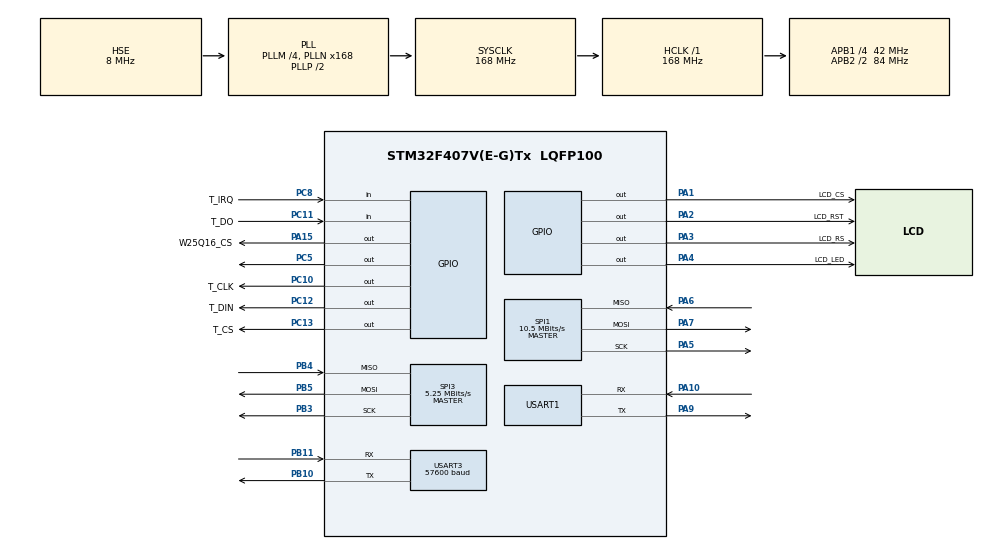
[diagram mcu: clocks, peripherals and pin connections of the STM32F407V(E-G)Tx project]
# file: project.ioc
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Dma.Request0=USART1_TX
Dma.Request1=SPI1_TX
Dma.Request2=SPI1_RX
Dma.Request3=USART3_RX
Dma.SPI1_RX.2.Direction=DMA_PERIPH_TO_MEMORY
Dma.SPI1_RX.2.FIFOMode=DMA_FIFOMODE_DISABLE
Dma.SPI1_RX.2.Instance=DMA2_Stream0
Dma.SPI1_RX.2.MemDataAlignment=DMA_MDATAALIGN_BYTE
Dma.SPI1_RX.2.MemInc=DMA_MINC_ENABLE
Dma.SPI1_RX.2.Mode=DMA_NORMAL
Dma.SPI1_RX.2.PeriphDataAlignment=DMA_PDATAALIGN_BYTE
Dma.SPI1_RX.2.PeriphInc=DMA_PINC_DISABLE
Dma.SPI1_RX.2.Priority=DMA_PRIORITY_MEDIUM
Dma.SPI1_TX.1.Direction=DMA_MEMORY_TO_PERIPH
Dma.SPI1_TX.1.FIFOMode=DMA_FIFOMODE_DISABLE
Dma.SPI1_TX.1.Instance=DMA2_Stream3
Dma.SPI1_TX.1.MemDataAlignment=DMA_MDATAALIGN_BYTE
Dma.SPI1_TX.1.MemInc=DMA_MINC_ENABLE
Dma.SPI1_TX.1.Mode=DMA_NORMAL
Dma.SPI1_TX.1.PeriphDataAlignment=DMA_PDATAALIGN_BYTE
Dma.SPI1_TX.1.PeriphInc=DMA_PINC_DISABLE
Dma.SPI1_TX.1.Priority=DMA_PRIORITY_MEDIUM
Dma.USART1_TX.0.Direction=DMA_MEMORY_TO_PERIPH
Dma.USART1_TX.0.FIFOMode=DMA_FIFOMODE_DISABLE
Dma.USART1_TX.0.Instance=DMA2_Stream7
Dma.USART1_TX.0.MemDataAlignment=DMA_MDATAALIGN_BYTE
Dma.USART1_TX.0.MemInc=DMA_MINC_ENABLE
Dma.USART1_TX.0.Mode=DMA_NORMAL
Dma.USART1_TX.0.PeriphDataAlignment=DMA_PDATAALIGN_BYTE
Dma.USART1_TX.0.PeriphInc=DMA_PINC_DISABLE
Dma.USART1_TX.0.Priority=DMA_PRIORITY_MEDIUM
Dma.USART3_RX.3.Direction=DMA_PERIPH_TO_MEMORY
Dma.USART3_RX.3.FIFOMode=DMA_FIFOMODE_DISABLE
Dma.USART3_RX.3.Instance=DMA1_Stream1
Dma.USART3_RX.3.MemDataAlignment=DMA_MDATAALIGN_BYTE
Dma.USART3_RX.3.MemInc=DMA_MINC_ENABLE
Dma.USART3_RX.3.Mode=DMA_CIRCULAR
Dma.USART3_RX.3.PeriphDataAlignment=DMA_PDATAALIGN_BYTE
Dma.USART3_RX.3.PeriphInc=DMA_PINC_DISABLE
Dma.USART3_RX.3.Priority=DMA_PRIORITY_VERY_HIGH
IWDG.Prescaler=IWDG_PRESCALER_64
Mcu.Family=STM32F4
Mcu.Name=STM32F407V(E-G)Tx
Mcu.Package=LQFP100
NVIC.DMA1_Stream1_IRQn=true\:0\:0\:false\:false\:true\:false\:true\:true
NVIC.DMA2_Stream0_IRQn=true\:5\:0\:true\:false\:true\:true\:false\:true
NVIC.DMA2_Stream3_IRQn=true\:5\:0\:true\:false\:true\:true\:false\:true
NVIC.DMA2_Stream7_IRQn=true\:5\:0\:true\:false\:true\:true\:false\:true
NVIC.PriorityGroup=NVIC_PRIORITYGROUP_4
NVIC.SPI1_IRQn=true\:3\:0\:true\:false\:true\:false\:true\:true
NVIC.TIM1_BRK_TIM9_IRQn=true\:1\:0\:true\:false\:true\:false\:true\:true
NVIC.TIM3_IRQn=true\:5\:0\:true\:false\:true\:true\:true\:true
NVIC.TimeBase=TIM1_BRK_TIM9_IRQn
NVIC.TimeBaseIP=TIM9
NVIC.USART1_IRQn=true\:6\:0\:true\:false\:true\:true\:false\:true
NVIC.USART3_IRQn=true\:5\:0\:true\:false\:true\:true\:true\:true
PA1.GPIO_Label=LCD_CS
PA1.GPIO_ModeDefaultOutputPP=GPIO_MODE_OUTPUT_PP
PA1.GPIO_PuPd=GPIO_NOPULL
PA1.GPIO_Speed=GPIO_SPEED_FREQ_VERY_HIGH
PA1.PinState=GPIO_PIN_SET
PA1.Signal=GPIO_Output
PA10.Mode=Asynchronous
PA10.Signal=USART1_RX
PA13.Mode=Serial_Wire
PA13.Signal=SYS_JTMS-SWDIO
PA14.Mode=Serial_Wire
PA14.Signal=SYS_JTCK-SWCLK
PA15.GPIO_Label=W25Q16_CS
PA15.GPIO_PuPd=GPIO_PULLUP
PA15.GPIO_Speed=GPIO_SPEED_FREQ_VERY_HIGH
PA15.PinState=GPIO_PIN_SET
PA15.Signal=GPIO_Output
PA2.GPIO_Label=LCD_RST
PA2.GPIO_ModeDefaultOutputPP=GPIO_MODE_OUTPUT_PP
PA2.GPIO_PuPd=GPIO_NOPULL
PA2.GPIO_Speed=GPIO_SPEED_FREQ_VERY_HIGH
PA2.PinState=GPIO_PIN_SET
PA2.Signal=GPIO_Output
PA3.GPIO_Label=LCD_RS
PA3.GPIO_ModeDefaultOutputPP=GPIO_MODE_OUTPUT_PP
PA3.GPIO_PuPd=GPIO_NOPULL
PA3.GPIO_Speed=GPIO_SPEED_FREQ_VERY_HIGH
PA3.PinState=GPIO_PIN_SET
PA3.Signal=GPIO_Output
PA4.GPIO_Label=LCD_LED
PA4.GPIO_ModeDefaultOutputPP=GPIO_MODE_OUTPUT_PP
PA4.GPIO_PuPd=GPIO_NOPULL
PA4.GPIO_Speed=GPIO_SPEED_FREQ_VERY_HIGH
PA4.PinState=GPIO_PIN_SET
PA4.Signal=GPIO_Output
PA5.GPIO_PuPd=GPIO_PULLUP
PA5.Mode=Full_Duplex_Master
PA5.Signal=SPI1_SCK
PA6.GPIO_PuPd=GPIO_PULLUP
PA6.Mode=Full_Duplex_Master
PA6.Signal=SPI1_MISO
PA7.GPIO_PuPd=GPIO_PULLUP
PA7.Mode=Full_Duplex_Master
PA7.Signal=SPI1_MOSI
PA9.Mode=Asynchronous
PA9.Signal=USART1_TX
PB10.Mode=Asynchronous
PB10.Signal=USART3_TX
PB11.Mode=Asynchronous
PB11.Signal=USART3_RX
PB3.Mode=Full_Duplex_Master
PB3.Signal=SPI3_SCK
PB4.Mode=Full_Duplex_Master
PB4.Signal=SPI3_MISO
PB5.Mode=Full_Duplex_Master
PB5.Signal=SPI3_MOSI
PC10.GPIO_Label=T_CLK
PC10.GPIO_ModeDefaultOutputPP=GPIO_MODE_OUTPUT_PP
PC10.GPIO_Speed=GPIO_SPEED_FREQ_HIGH
PC10.PinState=GPIO_PIN_SET
PC10.Signal=GPIO_Output
PC11.GPIO_Label=T_DO
PC11.GPIO_PuPd=GPIO_PULLUP
PC11.Signal=GPIO_Input
PC12.GPIO_Label=T_DIN
PC12.GPIO_ModeDefaultOutputPP=GPIO_MODE_OUTPUT_PP
PC12.GPIO_Speed=GPIO_SPEED_FREQ_HIGH
PC12.PinState=GPIO_PIN_SET
PC12.Signal=GPIO_Output
PC13-ANTI_TAMP.GPIO_Label=T_CS
PC13-ANTI_TAMP.GPIO_ModeDefaultOutputPP=GPIO_MODE_OUTPUT_PP
PC13-ANTI_TAMP.GPIO_Speed=GPIO_SPEED_FREQ_HIGH
PC13-ANTI_TAMP.PinState=GPIO_PIN_SET
PC13-ANTI_TAMP.Signal=GPIO_Output
PC5.Signal=GPIO_Output
PC8.GPIO_Label=T_IRQ
PC8.GPIO_PuPd=GPIO_PULLUP
PC8.Signal=GPIO_Input
PH0-OSC_IN.Mode=HSE-External-Oscillator
PH0-OSC_IN.Signal=RCC_OSC_IN
PH1-OSC_OUT.Mode=HSE-External-Oscillator
PH1-OSC_OUT.Signal=RCC_OSC_OUT
ProjectManager.HeapSize=0x400
ProjectManager.StackSize=0x1000
ProjectManager.TargetToolchain=MDK-ARM V5.32
RCC.48MHZClocksFreq_Value=84000000
RCC.AHBFreq_Value=168000000
RCC.APB1CLKDivider=RCC_HCLK_DIV4
RCC.APB1Freq_Value=42000000
RCC.APB1TimFreq_Value=84000000
RCC.APB2CLKDivider=RCC_HCLK_DIV2
RCC.APB2Freq_Value=84000000
RCC.APB2TimFreq_Value=168000000
RCC.CortexFreq_Value=168000000
RCC.HCLKFreq_Value=168000000
RCC.HSE_VALUE=8000000
RCC.HSI_VALUE=16000000
RCC.LSE_VALUE=32768
RCC.PLLM=4
RCC.PLLN=168
RCC.PLLSourceVirtual=RCC_PLLSOURCE_HSE
RCC.SYSCLKFreq_VALUE=168000000
RCC.SYSCLKSource=RCC_SYSCLKSOURCE_PLLCLK
RCC.VCOOutputFreq_Value=336000000
SPI1.BaudRatePrescaler=SPI_BAUDRATEPRESCALER_8
SPI1.CLKPhase=SPI_PHASE_1EDGE
SPI1.CLKPolarity=SPI_POLARITY_LOW
SPI1.CRCCalculation=SPI_CRCCALCULATION_DISABLE
SPI1.CalculateBaudRate=10.5 MBits/s
SPI1.Direction=SPI_DIRECTION_2LINES
SPI1.FirstBit=SPI_FIRSTBIT_MSB
SPI1.Mode=SPI_MODE_MASTER
SPI1.NSS=SPI_NSS_SOFT
SPI1.TIMode=SPI_TIMODE_DISABLE
SPI1.VirtualType=VM_MASTER
SPI3.BaudRatePrescaler=SPI_BAUDRATEPRESCALER_8
SPI3.CalculateBaudRate=5.25 MBits/s
SPI3.Direction=SPI_DIRECTION_2LINES
SPI3.Mode=SPI_MODE_MASTER
SPI3.VirtualType=VM_MASTER
TIM3.AutoReloadPreload=TIM_AUTORELOAD_PRELOAD_ENABLE
TIM3.Period=1000-1
TIM3.Prescaler=84-1
USART1.VirtualMode=VM_ASYNC
USART3.BaudRate=57600
USART3.VirtualMode=VM_ASYNC
VP_IWDG_VS_IWDG.Mode=IWDG_Activate
VP_SYS_VS_tim9.Mode=TIM9
VP_TIM3_VS_ClockSourceINT.Mode=Internal
board=custom

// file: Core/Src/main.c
/* USER CODE BEGIN Header */
/**
 ******************************************************************************

 ******************************************************************************
 */
/* USER CODE END Header */
#include "main.h"
#include "dma.h"
#include "iwdg.h"
#include "spi.h"
#include "tim.h"
#include "usart.h"
#include "gpio.h"

/* USER CODE BEGIN Includes */
#include "LCD.h"
#include "lvgl.h"
#include "lv_port_disp.h"
#include "lv_port_indev.h"
#include "lv_demos.h"
#include "touch.h"
#include "XPT2046.h"
#include "user_task.h"
#include "ota.h"
#include "partition.h"
/* USER CODE END Includes */

void SystemClock_Config(void);

int main(void)
{

  /* USER CODE BEGIN 1 */

  /* App 向量表重定位到本构建的槽位（与链接基址一致） */
  SCB->VTOR = OTA_APP_A_ADDR;

  /* USER CODE END 1 */

  /* MCU Configuration--------------------------------------------------------*/

  /* Reset of all peripherals, Initializes the Flash interface and the Systick. */
  HAL_Init();

  /* Configure the system clock */
  SystemClock_Config();

  /* Initialize all configured peripherals */
  MX_GPIO_Init();
  MX_DMA_Init();
  MX_USART1_UART_Init();
  MX_TIM3_Init();
  MX_SPI1_Init();
  MX_IWDG_Init();
  MX_USART3_UART_Init();
  MX_SPI3_Init();
  /* USER CODE BEGIN 2 */
  HAL_TIM_Base_Start_IT(&htim3); // 启动定时器3，1ms中断，作为LVGL时基

  /* Bootloader 已启动独立看门狗（约8s），App 启动后立即开始喂狗 */
  ota_feed_watchdog();

  freertos_start(); // 启动FreeRTOS，创建任务并启动调度器
  /* USER CODE END 2 */

  /* Infinite loop */
  while (1)
  {

  }
}

void SystemClock_Config(void)
{
  RCC_OscInitTypeDef RCC_OscInitStruct = {0};
  RCC_ClkInitTypeDef RCC_ClkInitStruct = {0};

  /** Configure the main internal regulator output voltage
  */
  __HAL_RCC_PWR_CLK_ENABLE();
  __HAL_PWR_VOLTAGESCALING_CONFIG(PWR_REGULATOR_VOLTAGE_SCALE1);

  /** Initializes the RCC Oscillators according to the specified parameters
  * in the RCC_OscInitTypeDef structure.
  */
  RCC_OscInitStruct.OscillatorType = RCC_OSCILLATORTYPE_LSI|RCC_OSCILLATORTYPE_HSE;
  RCC_OscInitStruct.HSEState = RCC_HSE_ON;
  RCC_OscInitStruct.LSIState = RCC_LSI_ON;
  RCC_OscInitStruct.PLL.PLLState = RCC_PLL_ON;
  RCC_OscInitStruct.PLL.PLLSource = RCC_PLLSOURCE_HSE;
  RCC_OscInitStruct.PLL.PLLM = 4;
  RCC_OscInitStruct.PLL.PLLN = 168;
  RCC_OscInitStruct.PLL.PLLP = RCC_PLLP_DIV2;
  RCC_OscInitStruct.PLL.PLLQ = 4;
  if (HAL_RCC_OscConfig(&RCC_OscInitStruct) != HAL_OK)
  {
    Error_Handler();
  }

  /** Initializes the CPU, AHB and APB buses clocks
  */
  RCC_ClkInitStruct.ClockType = RCC_CLOCKTYPE_HCLK|RCC_CLOCKTYPE_SYSCLK
                              |RCC_CLOCKTYPE_PCLK1|RCC_CLOCKTYPE_PCLK2;
  RCC_ClkInitStruct.SYSCLKSource = RCC_SYSCLKSOURCE_PLLCLK;
  RCC_ClkInitStruct.AHBCLKDivider = RCC_SYSCLK_DIV1;
  RCC_ClkInitStruct.APB1CLKDivider = RCC_HCLK_DIV4;
  RCC_ClkInitStruct.APB2CLKDivider = RCC_HCLK_DIV2;

  if (HAL_RCC_ClockConfig(&RCC_ClkInitStruct, FLASH_LATENCY_5) != HAL_OK)
  {
    Error_Handler();
  }
}

void HAL_TIM_PeriodElapsedCallback(TIM_HandleTypeDef *htim)
{
  if (htim->Instance == TIM9) {
    HAL_IncTick();
  }
  /* USER CODE BEGIN Callback 1 */
	if (htim->Instance == TIM3)
  {
    lv_tick_inc(1); //LVGL时基，每1ms调用一次
  }
  /* USER CODE END Callback 1 */
}

void Error_Handler(void)
{
  __disable_irq();
  while (1)
  {
  }
}
